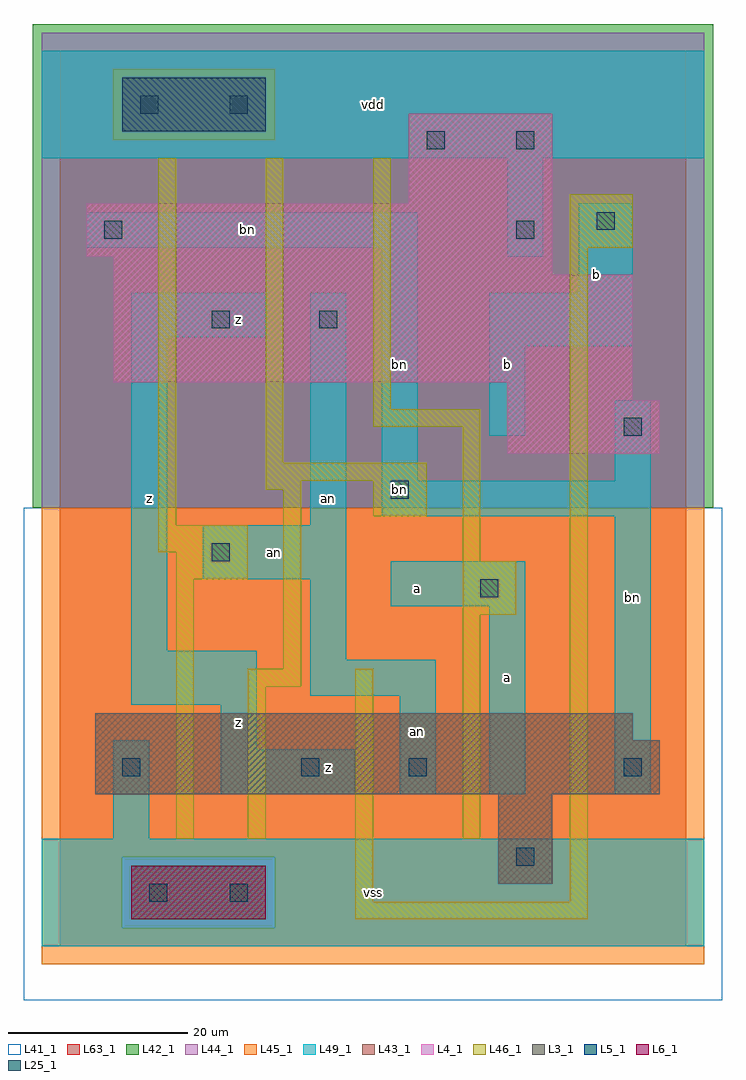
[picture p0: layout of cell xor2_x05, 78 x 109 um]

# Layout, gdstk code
import gdstk
lib = gdstk.Library(unit=1e-6, precision=1e-09)
def R(c, l, rs):  # rectangles x0, y0, x1, y1
    for r in rs: c.add(gdstk.rectangle(r[:2], r[2:], *l))
L3_1 = (3, 1)
L4_1 = (4, 1)
L5_1 = (5, 1)
L6_1 = (6, 1)
L25_1 = (25, 1)
L41_1 = (41, 1)
L42_1 = (42, 1)
L43_1 = (43, 1)
L44_1 = (44, 1)
L45_1 = (45, 1)
L46_1 = (46, 1)
L49_1 = (49, 1)
L63_1 = (63, 1)

xor2_x05 = lib.new_cell('xor2_x05')
R(xor2_x05, L3_1, [(49,7,55,17), (4,17,67,23), (4,23,64,26)])
R(xor2_x05, L4_1, [(50,55,67,61), (50,61,64,63), (6,63,64,75), (6,75,55,77), (3,77,55,83), (39,83,55,93)])
R(xor2_x05, L5_1, [(7,91,23,97)])
R(xor2_x05, L6_1, [(8,3,23,9)])
R(xor2_x05, L25_1, [(10,5,12,7), (19,5,21,7), (51,9,53,11), (7,19,9,21), (27,19,29,21), (39,19,41,21), (63,19,65,21), (47,39,49,41), (17,43,19,45), (37,50,39,52), (63,57,65,59), (17,69,19,71), (29,69,31,71), (5,79,7,81), (51,79,53,81), (60,80,62,82), (41,89,43,91), (51,89,53,91), (9,93,11,95), (19,93,21,95)])
R(xor2_x05, L41_1, [(-4,-6,74,49), (-3,-3,73,49)])
R(xor2_x05, L42_1, [(-3,49,73,103)])
R(xor2_x05, L43_1, [(8,3,23,9), (49,7,55,17), (4,17,67,23), (4,23,64,26), (50,55,67,61), (50,61,64,63), (6,63,64,75), (6,75,55,77), (3,77,55,83), (39,83,55,93), (7,91,23,97)])
R(xor2_x05, L44_1, [(7,2,24,10), (-2,49,72,90), (-2,90,6,98), (24,90,72,98), (-2,98,72,102)])
R(xor2_x05, L45_1, [(-2,-2,72,2), (-2,2,7,10), (24,2,72,10), (-2,10,72,49), (6,90,24,98)])
R(xor2_x05, L46_1, [(33,3,59,5), (33,5,35,31), (57,5,59,78), (13,12,15,41), (21,12,23,29), (45,12,47,37), (21,29,27,31), (25,31,27,51), (45,37,51,43), (13,41,21,44), (45,43,47,58), (11,44,21,47), (11,47,13,88), (35,48,41,52), (23,51,27,52), (23,52,41,54), (23,54,25,88), (35,58,47,60), (35,60,37,88), (57,78,64,84)])
R(xor2_x05, L49_1, [(-2,0,72,12), (6,12,10,23), (18,17,33,22), (38,17,42,28), (48,17,52,38), (62,17,66,48), (18,22,22,27), (8,27,22,33), (28,28,42,32), (28,32,32,41), (8,33,12,68), (37,38,52,43), (16,41,32,47), (28,47,32,73), (36,48,66,52), (36,52,40,78), (62,52,66,61), (48,57,52,67), (48,67,64,73), (8,68,23,73), (58,73,64,83), (50,77,54,88), (3,78,40,82), (-2,88,72,100)])
R(xor2_x05, L63_1, [(0,0,70,100)])
xor2_x05.add(gdstk.Label('bn', (38,51), layer=49, texttype=1))
xor2_x05.add(gdstk.Label('z', (10,50), layer=49, texttype=1))
xor2_x05.add(gdstk.Label('z', (10,50), layer=49, texttype=1))
xor2_x05.add(gdstk.Label('z', (30,20), layer=49, texttype=1))
xor2_x05.add(gdstk.Label('z', (30,20), layer=49, texttype=1))
xor2_x05.add(gdstk.Label('z', (20,25), layer=49, texttype=1))
xor2_x05.add(gdstk.Label('z', (20,25), layer=49, texttype=1))
xor2_x05.add(gdstk.Label('an', (24,44), layer=49, texttype=1))
xor2_x05.add(gdstk.Label('an', (30,50), layer=49, texttype=1))
xor2_x05.add(gdstk.Label('z', (20,70), layer=49, texttype=1))
xor2_x05.add(gdstk.Label('z', (20,70), layer=49, texttype=1))
xor2_x05.add(gdstk.Label('vss', (35,6), layer=49, texttype=1))
xor2_x05.add(gdstk.Label('vss', (35,6), layer=49, texttype=1))
xor2_x05.add(gdstk.Label('an', (40,24), layer=49, texttype=1))
xor2_x05.add(gdstk.Label('a', (50,30), layer=49, texttype=1))
xor2_x05.add(gdstk.Label('a', (40,40), layer=49, texttype=1))
xor2_x05.add(gdstk.Label('a', (50,30), layer=49, texttype=1))
xor2_x05.add(gdstk.Label('a', (40,40), layer=49, texttype=1))
xor2_x05.add(gdstk.Label('b', (50,65), layer=49, texttype=1))
xor2_x05.add(gdstk.Label('b', (50,65), layer=49, texttype=1))
xor2_x05.add(gdstk.Label('bn', (38,65), layer=49, texttype=1))
xor2_x05.add(gdstk.Label('vdd', (35,94), layer=49, texttype=1))
xor2_x05.add(gdstk.Label('vdd', (35,94), layer=49, texttype=1))
xor2_x05.add(gdstk.Label('bn', (21,80), layer=49, texttype=1))
xor2_x05.add(gdstk.Label('bn', (64,39), layer=49, texttype=1))
xor2_x05.add(gdstk.Label('b', (60,75), layer=49, texttype=1))
xor2_x05.add(gdstk.Label('b', (60,75), layer=49, texttype=1))

lib.write_gds('xor2_x05.gds')
